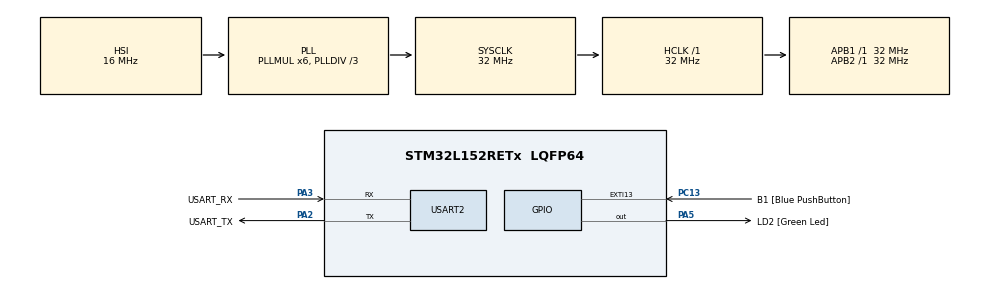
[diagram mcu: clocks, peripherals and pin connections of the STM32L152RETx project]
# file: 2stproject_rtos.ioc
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FREERTOS.Tasks01=defaultTask,0,128,StartDefaultTask,Default,NULL,Dynamic,NULL,NULL
Mcu.Family=STM32L1
Mcu.Name=STM32L152RETx
Mcu.Package=LQFP64
NVIC.PriorityGroup=NVIC_PRIORITYGROUP_4
NVIC.TIM6_IRQn=true\:15\:0\:false\:false\:true\:false\:false\:true\:true
NVIC.TimeBase=TIM6_IRQn
NVIC.TimeBaseIP=TIM6
PA13.GPIO_Label=TMS
PA13.Mode=Serial_Wire
PA13.Signal=SYS_JTMS-SWDIO
PA14.GPIO_Label=TCK
PA14.Mode=Serial_Wire
PA14.Signal=SYS_JTCK-SWCLK
PA2.GPIO_Label=USART_TX
PA2.Mode=Asynchronous
PA2.Signal=USART2_TX
PA3.GPIO_Label=USART_RX
PA3.Mode=Asynchronous
PA3.Signal=USART2_RX
PA5.GPIO_Label=LD2 [Green Led]
PA5.Signal=GPIO_Output
PB3.GPIO_Label=SWO
PB3.Signal=SYS_JTDO-TRACESWO
PC13-WKUP2.GPIO_Label=B1 [Blue PushButton]
PC13-WKUP2.Signal=GPXTI13
PC14-OSC32_IN.Mode=LSE-External-Oscillator
PC14-OSC32_IN.Signal=RCC_OSC32_IN
PC15-OSC32_OUT.Mode=LSE-External-Oscillator
PC15-OSC32_OUT.Signal=RCC_OSC32_OUT
PH0-OSC_IN.Mode=HSE-External-Clock-Source
PH0-OSC_IN.Signal=RCC_OSC_IN
PH1-OSC_OUT.Signal=RCC_OSC_OUT
ProjectManager.HeapSize=0x200
ProjectManager.StackSize=0x400
ProjectManager.TargetToolchain=STM32CubeIDE
RCC.48MHZClocksFreq_Value=48000000
RCC.AHBFreq_Value=32000000
RCC.APB1Freq_Value=32000000
RCC.APB1TimFreq_Value=32000000
RCC.APB2Freq_Value=32000000
RCC.APB2TimFreq_Value=32000000
RCC.HCLKFreq_Value=32000000
RCC.HSE_VALUE=8000000
RCC.HSI_VALUE=16000000
RCC.MSI_VALUE=2097000
RCC.PLLDIV=RCC_PLL_DIV3
RCC.PLLMUL=RCC_PLL_MUL6
RCC.RTCClockSelectionVirtual=RCC_RTCCLKSOURCE_LSE
RCC.SYSCLKFreq_VALUE=32000000
RCC.SYSCLKSource=RCC_SYSCLKSOURCE_PLLCLK
RCC.USBOutput=48000000
RCC.VCOOutputFreq_Value=96000000
USART2.VirtualMode=VM_ASYNC
VP_FREERTOS_VS_CMSIS_V1.Mode=CMSIS_V1
VP_SYS_VS_tim6.Mode=TIM6
board=NUCLEO-L152RE

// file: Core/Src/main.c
/* USER CODE BEGIN Header */
/**
  ******************************************************************************
  * @file           : main.c
  * @brief          : Main program body
  ******************************************************************************
  * @attention
  *
  * <h2><center>&copy; Copyright (c) 2026 STMicroelectronics.
  * All rights reserved.</center></h2>
  *
  * This software component is licensed by ST under BSD 3-Clause license,
  * the "License"; You may not use this file except in compliance with the
  * License. You may obtain a copy of the License at:
  *                        opensource.org/licenses/BSD-3-Clause
  *
  ******************************************************************************
  */
/* USER CODE END Header */
#include "main.h"

/* USER CODE BEGIN Includes */
#include "stdio.h"
#include "freertos.h"
#include "task.h"

/* USER CODE END Includes */

UART_HandleTypeDef huart2;

/* USER CODE BEGIN PV */
/*
TaskHandle_t myTask1Handle = NULL;
TaskHandle_t myTask2Handle = NULL;
*/

TaskHandle_t LedOneTaskHandle = NULL;
TaskHandle_t LedTwoTaskHandle = NULL;

uint8_t LED_One = 0;
uint8_t LED_Two = 0;

int compteur = 0;

/* USER CODE END PV */

void SystemClock_Config(void);
static void MX_GPIO_Init(void);
static void MX_USART2_UART_Init(void);

/* USER CODE BEGIN PFP */
/*
void myTask1(void *);
void myTask2(void *);
*/

void LedOneTask(void *);
void LedTwoTask(void *);

/* USER CODE END PFP */

/* USER CODE BEGIN 0 */
/*
void myTask1(void *p) {
	TickType_t TaskTimeStamp;
	TickType_t DelayImeMsec = 2000;

	TaskTimeStamp = xTaskGetTickCount();

	while (1) {
		LED_One ^= 0x1;
		HAL_Delay(500);
		//vTaskDelayUntil(&TaskTimeStamp, DelayImeMsec);
	}
}

void myTask2(void *p) {
	while (1) {
		printf("rentre dans task2: %d\r\n", compteur++);
		vTaskDelay(150);
		LED_Two ^= 0x1;
	}
}
*/

void LedOneTask(void *p) {
    TickType_t xLastWakeTime = xTaskGetTickCount();
    const TickType_t xPeriod    = pdMS_TO_TICKS(10000); // Période 10s
    const TickType_t xToggle    = pdMS_TO_TICKS(50);    // 20Hz -> 50ms
    const uint32_t   nToggles   = 4000 / 50;            // 160 toggles sur 4s

    while (1) {
        xLastWakeTime = xTaskGetTickCount();

        LED_One = 1;

        for (uint32_t i = 0; i < nToggles; i++) {
            LED_One ^= 0x1;
            vTaskDelay(xToggle);
        }

        LED_One = 0;

        vTaskDelayUntil(&xLastWakeTime, xPeriod);
    }
}

void LedTwoTask(void *p) {
    TickType_t xLastWakeTime = xTaskGetTickCount();
    const TickType_t xPeriod    = pdMS_TO_TICKS(2000);  // Période 2s
    const TickType_t xToggle    = pdMS_TO_TICKS(40);    // 25Hz -> 40ms
    const uint32_t   nToggles   = 500 / 40;             // 25 toggles sur 500ms

    while (1) {
        xLastWakeTime = xTaskGetTickCount();

        LED_Two = 1;

        for (uint32_t i = 0; i < nToggles; i++) {
            LED_Two ^= 0x1;
            vTaskDelay(xToggle);
        }

        LED_Two = 0;

        vTaskDelayUntil(&xLastWakeTime, xPeriod);
    }
}

/* USER CODE END 0 */

int main(void)
{

  /* MCU Configuration--------------------------------------------------------*/

  /* Reset of all peripherals, Initializes the Flash interface and the Systick. */
  HAL_Init();

  /* Configure the system clock */
  SystemClock_Config();

  /* Initialize all configured peripherals */
  MX_GPIO_Init();
  MX_USART2_UART_Init();

  /* Create the thread(s) */
  /* definition and creation of task1 */

  /* USER CODE BEGIN RTOS_THREADS */
  /* add threads, ... */

  /*
  xTaskCreate(myTask1, "task1", 200, (void *) NULL, 1, &myTask1Handle);
  xTaskCreate(myTask2, "task2", 200, (void *) NULL, 2, &myTask2Handle);
  */

  xTaskCreate(LedOneTask, "ledonetask", 200, (void *) NULL, 2, &LedOneTaskHandle);
  xTaskCreate(LedTwoTask, "ledtwotask", 200, (void *) NULL, 2, &LedTwoTaskHandle);

  /* USER CODE END RTOS_THREADS */

  /* Start scheduler */
  vTaskStartScheduler();

  /* We should never get here as control is now taken by the scheduler */
  /* Infinite loop */
  while (1)
  {

  }
}

void SystemClock_Config(void)
{
  RCC_OscInitTypeDef RCC_OscInitStruct = {0};
  RCC_ClkInitTypeDef RCC_ClkInitStruct = {0};

  /** Configure the main internal regulator output voltage
  */
  __HAL_PWR_VOLTAGESCALING_CONFIG(PWR_REGULATOR_VOLTAGE_SCALE1);
  /** Initializes the RCC Oscillators according to the specified parameters
  * in the RCC_OscInitTypeDef structure.
  */
  RCC_OscInitStruct.OscillatorType = RCC_OSCILLATORTYPE_HSI;
  RCC_OscInitStruct.HSIState = RCC_HSI_ON;
  RCC_OscInitStruct.HSICalibrationValue = RCC_HSICALIBRATION_DEFAULT;
  RCC_OscInitStruct.PLL.PLLState = RCC_PLL_ON;
  RCC_OscInitStruct.PLL.PLLSource = RCC_PLLSOURCE_HSI;
  RCC_OscInitStruct.PLL.PLLMUL = RCC_PLL_MUL6;
  RCC_OscInitStruct.PLL.PLLDIV = RCC_PLL_DIV3;
  if (HAL_RCC_OscConfig(&RCC_OscInitStruct) != HAL_OK)
  {
    Error_Handler();
  }
  /** Initializes the CPU, AHB and APB buses clocks
  */
  RCC_ClkInitStruct.ClockType = RCC_CLOCKTYPE_HCLK|RCC_CLOCKTYPE_SYSCLK
                              |RCC_CLOCKTYPE_PCLK1|RCC_CLOCKTYPE_PCLK2;
  RCC_ClkInitStruct.SYSCLKSource = RCC_SYSCLKSOURCE_PLLCLK;
  RCC_ClkInitStruct.AHBCLKDivider = RCC_SYSCLK_DIV1;
  RCC_ClkInitStruct.APB1CLKDivider = RCC_HCLK_DIV1;
  RCC_ClkInitStruct.APB2CLKDivider = RCC_HCLK_DIV1;

  if (HAL_RCC_ClockConfig(&RCC_ClkInitStruct, FLASH_LATENCY_1) != HAL_OK)
  {
    Error_Handler();
  }
}

static void MX_USART2_UART_Init(void)
{

  huart2.Instance = USART2;
  huart2.Init.BaudRate = 115200;
  huart2.Init.WordLength = UART_WORDLENGTH_8B;
  huart2.Init.StopBits = UART_STOPBITS_1;
  huart2.Init.Parity = UART_PARITY_NONE;
  huart2.Init.Mode = UART_MODE_TX_RX;
  huart2.Init.HwFlowCtl = UART_HWCONTROL_NONE;
  huart2.Init.OverSampling = UART_OVERSAMPLING_16;
  if (HAL_UART_Init(&huart2) != HAL_OK)
  {
    Error_Handler();
  }

}

static void MX_GPIO_Init(void)
{
  GPIO_InitTypeDef GPIO_InitStruct = {0};

  /* GPIO Ports Clock Enable */
  __HAL_RCC_GPIOC_CLK_ENABLE();
  __HAL_RCC_GPIOH_CLK_ENABLE();
  __HAL_RCC_GPIOA_CLK_ENABLE();
  __HAL_RCC_GPIOB_CLK_ENABLE();

  /*Configure GPIO pin Output Level */
  HAL_GPIO_WritePin(LD2_GPIO_Port, LD2_Pin, GPIO_PIN_RESET);

  /*Configure GPIO pin : B1_Pin */
  GPIO_InitStruct.Pin = B1_Pin;
  GPIO_InitStruct.Mode = GPIO_MODE_IT_RISING;
  GPIO_InitStruct.Pull = GPIO_NOPULL;
  HAL_GPIO_Init(B1_GPIO_Port, &GPIO_InitStruct);

  /*Configure GPIO pin : LD2_Pin */
  GPIO_InitStruct.Pin = LD2_Pin;
  GPIO_InitStruct.Mode = GPIO_MODE_OUTPUT_PP;
  GPIO_InitStruct.Pull = GPIO_NOPULL;
  GPIO_InitStruct.Speed = GPIO_SPEED_FREQ_LOW;
  HAL_GPIO_Init(LD2_GPIO_Port, &GPIO_InitStruct);

}

/* USER CODE BEGIN 4 */
int _write(int file, char *ptr, int len) {
	(void)file;
	int DataIdx;

	for (DataIdx = 0; DataIdx < len; DataIdx++) {
		ITM_SendChar (*ptr++);
	}

	return len;
}

/* USER CODE END 4 */

void HAL_TIM_PeriodElapsedCallback(TIM_HandleTypeDef *htim)
{
  if (htim->Instance == TIM6) {
    HAL_IncTick();
  }
}

void Error_Handler(void)
{
  __disable_irq();
  while (1)
  {
  }
}

/************************ (C) COPYRIGHT STMicroelectronics *****END OF FILE****/
